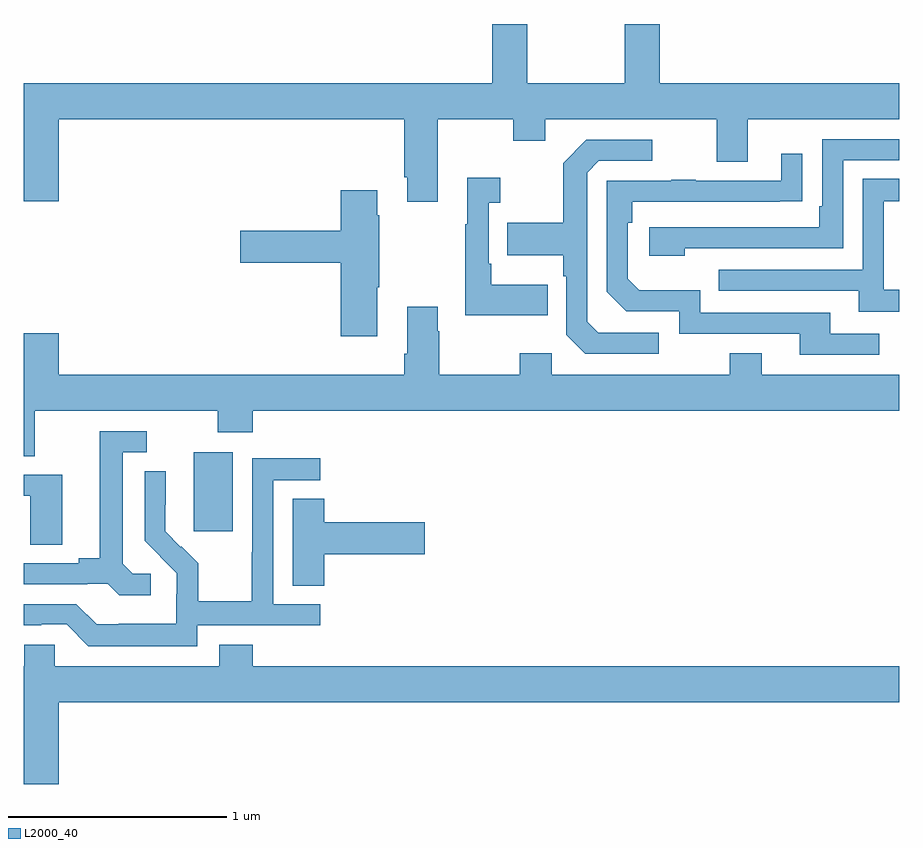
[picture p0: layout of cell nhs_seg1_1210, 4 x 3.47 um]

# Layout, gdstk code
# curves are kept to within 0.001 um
import gdstk
lib = gdstk.Library(unit=1e-6, precision=1e-09)
def R(c, l, rs):  # rectangles x0, y0, x1, y1
    for r in rs: c.add(gdstk.rectangle(r[:2], r[2:], *l))
def P(c, l, *ps):  # polygons
    for p in ps: c.add(gdstk.Polygon(p, *l))
L2000_40 = (2000, 40)

nhs_seg1_1210 = lib.new_cell('nhs_seg1_1210')
R(nhs_seg1_1210, L2000_40, [(177.776,517.881,177.955,518.242)])
P(nhs_seg1_1210, L2000_40, [(178.891,519.764),(179.236,519.764),(179.236,519.665),(179.383,519.665),(179.383,519.764),(180.167,519.764),(180.167,519.57),(180.307,519.57),(180.307,519.764),(181,519.764),(181,519.928),(179.906,519.928),(179.906,520.199),(179.746,520.199),(179.746,519.928),(179.301,519.928),(179.301,520.199),(179.141,520.199),(179.141,519.928),(177,519.928),(177,519.39),(177.16,519.39),(177.16,519.764),(178.739,519.764),(178.739,519.499),(178.751,519.499),(178.751,519.387),(178.891,519.387)],
  [(180.02,519.174),(180.744,519.174),(180.744,519.576),(181,519.576),(181,519.672),(180.648,519.672),(180.648,519.367),(180.635,519.367),(180.635,519.27),(179.859,519.27),(179.859,519.14),(180.02,519.14)],
  [(179.902,518.787),(179.625,518.787),(179.574,518.838),(179.574,519.519),(179.628,519.573),(179.872,519.573),(179.872,519.669),(179.571,519.669),(179.466,519.563),(179.466,519.291),(179.209,519.291),(179.209,519.143),(179.466,519.143),(179.466,519.047),(179.478,519.047),(179.478,518.778),(179.565,518.691),(179.902,518.691)],
  [(180.91,518.784),(180.685,518.784),(180.685,518.88),(180.09,518.88),(180.09,518.983),(179.813,518.983),(179.76,519.036),(179.76,519.29),(179.78,519.29),(179.78,519.387),(180.557,519.388),(180.557,519.607),(180.461,519.607),(180.461,519.483),(180.071,519.483),(180.071,519.488),(179.959,519.488),(179.959,519.483),(179.664,519.483),(179.664,518.976),(179.754,518.886),(179.994,518.886),(179.994,518.784),(180.545,518.784),(180.545,518.688),(180.91,518.688)],
  [(179.393,519.007),(179.137,519.007),(179.137,519.103),(179.124,519.103),(179.124,519.383),(179.176,519.383),(179.176,519.496),(179.027,519.496),(179.027,519.283),(179.016,519.283),(179.016,518.867),(179.393,518.867)],
  [(181,518.985),(180.93,518.985),(180.93,519.39),(181,519.39),(181,519.491),(180.834,519.491),(180.834,519.075),(180.175,519.075),(180.175,518.979),(180.815,518.979),(180.815,518.885),(181,518.885)],
  [(178.615,518.995),(178.623,518.995),(178.623,519.326),(178.615,519.326),(178.615,519.439),(178.448,519.439),(178.448,519.254),(177.99,519.254),(177.99,519.107),(178.448,519.107),(178.448,518.772),(178.615,518.772)],
  [(177.049,518.432),(177.886,518.432),(177.886,518.333),(178.046,518.333),(178.046,518.432),(181,518.432),(181,518.596),(180.373,518.596),(180.373,518.695),(180.226,518.695),(180.226,518.596),(179.412,518.596),(179.412,518.695),(179.266,518.695),(179.266,518.596),(178.899,518.596),(178.899,518.795),(178.891,518.795),(178.891,518.908),(178.751,518.908),(178.751,518.692),(178.739,518.692),(178.739,518.596),(177.16,518.596),(177.16,518.785),(177,518.785),(177,518.224),(177.049,518.224)],
  [(177.58,517.686),(177.498,517.686),(177.451,517.733),(177.451,518.241),(177.562,518.241),(177.562,518.337),(177.347,518.337),(177.347,517.757),(177.251,517.757),(177.251,517.734),(177,517.734),(177,517.638),(177.29,517.638),(177.29,517.641),(177.384,517.641),(177.436,517.589),(177.58,517.589)],
  [(177.792,517.452),(178.354,517.452),(178.354,517.548),(178.14,517.548),(178.14,518.115),(178.354,518.115),(178.354,518.214),(178.044,518.214),(178.044,517.784),(178.042,517.784),(178.042,517.561),(177.797,517.561),(177.797,517.735),(177.72,517.812),(177.717,517.809),(177.647,517.88),(177.648,518.156),(177.552,518.156),(177.552,517.838),(177.698,517.69),(177.698,517.593),(177.696,517.593),(177.696,517.459),(177.433,517.459),(177.433,517.455),(177.333,517.455),(177.24,517.548),(177,517.548),(177,517.452),(177.08,517.452),(177.08,517.455),(177.195,517.455),(177.295,517.355),(177.792,517.355)],
  [(177.175,518.139),(177,518.139),(177,518.043),(177.03,518.043),(177.03,517.819),(177.175,517.819)],
  [(178.373,517.775),(178.831,517.775),(178.831,517.922),(178.373,517.922),(178.373,518.03),(178.229,518.03),(178.229,517.633),(178.373,517.633)],
  [(177.16,517.1),(181,517.1),(181,517.264),(178.046,517.264),(178.046,517.363),(177.893,517.363),(177.893,517.264),(177.141,517.264),(177.141,517.362),(177.003,517.362),(177.003,517.264),(177,517.264),(177,516.726),(177.16,516.726)])

lib.write_gds('nhs_seg1_1210.gds')
